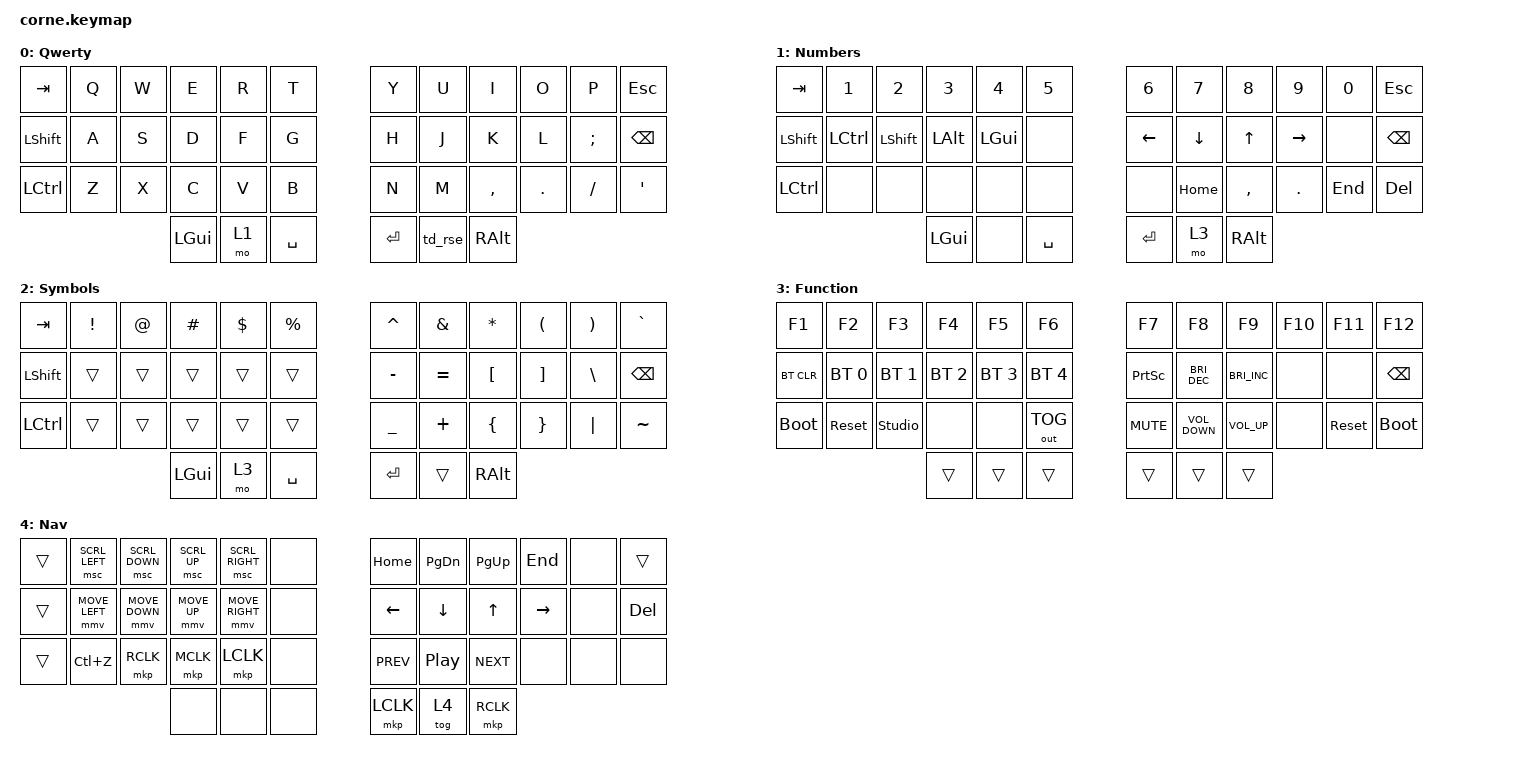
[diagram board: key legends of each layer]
#include <behaviors.dtsi>
#include <dt-bindings/zmk/bt.h>
#include <dt-bindings/zmk/keys.h>
#include <dt-bindings/zmk/outputs.h>
#include <dt-bindings/zmk/pointing.h>

/ {
    behaviors {
        td_rse: tap_dance_rse {
            compatible = "zmk,behavior-tap-dance";
            #binding-cells = <0>;
            tapping-term-ms = <200>;
            bindings = <&mo 2>, <&tog 4>;
        };
    };
};

/ {
    keymap {
        compatible = "zmk,keymap";

        Qwerty {
            // -----------------------------------------------------------------------------------------------------
            // |  TAB  |   Q   |   W   |   E   |   R   |   T   |   |   Y   |   U   |   I   |   O   |   P   |  ESC  |
            // | SHFT  |   A   |   S   |   D   |   F   |   G   |   |   H   |   J   |   K   |   L   |   ;   | BSPC  |
            // | CTRL  |   Z   |   X   |   C   |   V   |   B   |   |   N   |   M   |   ,   |   .   |   /   |   '   |
            //                         |  GUI  |  LWR  |  SPC  |   |  ENT  |RSE/NAV|  ALT  |

            bindings = <
&kp TAB     &kp Q  &kp W  &kp E     &kp R  &kp T        &kp Y    &kp U  &kp I      &kp O    &kp P     &kp ESC
&kp LSHIFT  &kp A  &kp S  &kp D     &kp F  &kp G        &kp H    &kp J  &kp K      &kp L    &kp SEMI  &kp BACKSPACE
&kp LCTRL   &kp Z  &kp X  &kp C     &kp V  &kp B        &kp N    &kp M  &kp COMMA  &kp DOT  &kp FSLH  &kp APOSTROPHE
                          &kp LGUI  &mo 1  &kp SPACE    &kp RET  &td_rse  &kp RALT
            >;

            label = "Qwerty";
        };

        Numbers {
            // -----------------------------------------------------------------------------------------------------
            // |  TAB  |   1   |   2   |   3   |   4   |   5   |   |   6   |   7   |   8   |   9   |   0   |  ESC  |
            // | SHFT  | CTRL  | SHFT  |  ALT  |  GUI  |       |   |  LFT  |  DWN  |  UP   |  RGT  |       | BSPC  |
            // | CTRL  |       |       |       |       |       |   |       | HOME  |   ,   |   .   |  END  |  DEL  |
            //                         |  GUI  |       |  SPC  |   |  ENT  | FUNC  |  ALT  |

            bindings = <
&kp TAB    &kp N1     &kp N2          &kp N3        &kp N4        &kp N5       &kp N6    &kp N7    &kp N8    &kp N9     &kp N0   &kp ESC
&kp LSHFT  &kp LCTRL  &kp LEFT_SHIFT  &kp LEFT_ALT  &kp LEFT_GUI  &none        &kp LEFT  &kp DOWN  &kp UP    &kp RIGHT  &none    &kp BACKSPACE
&kp LCTRL  &none      &none           &none         &none         &none        &none     &kp HOME  &kp COMMA &kp DOT      &kp END  &kp DELETE
                                      &kp LGUI      &none         &kp SPACE    &kp RET   &mo 3     &kp RALT
            >;

            label = "Numbers";
        };

        Symbols {
            // -----------------------------------------------------------------------------------------------------
            // |  TAB  |   !   |   @   |   #   |   $   |   %   |   |   ^   |   &   |   *   |   (   |   )   |   `   |
            // | SHFT  |       |       |       |       |       |   |   -   |   =   |   [   |   ]   |   \   | BSPC  |
            // | CTRL  |       |       |       |       |       |   |   _   |   +   |   {   |   }   |  "|"  |   ~   |
            //                         |  GUI  | FUNC  |  SPC  |   |  ENT  |       |  ALT  |

            bindings = <
&kp TAB           &kp EXCL  &kp AT  &kp HASH  &kp DLLR  &kp PRCNT    &kp CARET  &kp AMPS   &kp ASTRK  &kp LPAR  &kp RPAR  &kp GRAVE
&kp LEFT_SHIFT    &trans    &trans  &trans    &trans    &trans       &kp MINUS  &kp EQUAL  &kp LBKT   &kp RBKT  &kp BSLH  &kp BACKSPACE
&kp LEFT_CONTROL  &trans    &trans  &trans    &trans    &trans       &kp UNDER  &kp PLUS   &kp LBRC   &kp RBRC  &kp PIPE  &kp TILDE
                                    &kp LGUI  &mo 3     &kp SPACE    &kp RET    &trans     &kp RALT
            >;

            label = "Symbols";
        };

        Function {
            // -----------------------------------------------------------------------------------------------------
            // |  F1   |  F2   |  F3   |  F4   |  F5   |  F6   |   |  F7   |  F8   |  F9   |  F10  |  F11  |  F12  |
            // | BTCLR |  BT1  |  BT2  |  BT3  |  BT4  |  BT5  |   | PRTSC | BRI-  | BRI+  |       |       | BSPC  |
            // | BOOT  | RESET | UNLCK |       |       |  OUT  |   | MUTE  | VOL-  | VOL+  |       | RESET | BOOT  |
            //                         |       |       |       |   |       |       |       |

            bindings = <
&kp F1      &kp F2        &kp F3        &kp F4        &kp F5        &kp F6          &kp F7           &kp F8                &kp F9                &kp F10  &kp F11  &kp F12
&bt BT_CLR  &bt BT_SEL 0  &bt BT_SEL 1    &bt BT_SEL 2  &bt BT_SEL 3  &bt BT_SEL 4    &kp PRINTSCREEN  &kp C_BRIGHTNESS_DEC  &kp C_BRIGHTNESS_INC  &none    &none       &kp BACKSPACE
&bootloader &sys_reset    &studio_unlock  &none         &none         &out OUT_TOG    &kp K_MUTE       &kp C_VOLUME_DOWN     &kp C_VOLUME_UP       &none    &sys_reset  &bootloader
                                        &trans        &trans        &trans          &trans           &trans                &trans
            >;

            label = "Function";
        };

        Nav {
            // -----------------------------------------------------------------------------------------------------
            // |  TAB  |  SC<  |  SCv  |  SC^  |  SC>  |       |   | HOME  | PGDN  | PGUP  |  END  |       |  ESC  |
            // | SHFT  |  MS<  |  MSv  |  MS^  |  MS>  |       |   |  LFT  |  DWN  |  UP   |  RGT  |       |  DEL  |
            // | CTRL  | UNDO  |  CUT  | COPY  | PASTE |       |   | PREV  | PLAY  | NEXT  |       |       |       |
            //                         |  RMB  |  MMB  |  LMB  |   |  LMB  | EXIT  |  RMB  |

            bindings = <
&trans  &msc SCRL_LEFT  &msc SCRL_DOWN  &msc SCRL_UP  &msc SCRL_RIGHT  &none        &kp HOME    &kp PG_DN  &kp PG_UP   &kp END    &none  &trans
&trans  &mmv MOVE_LEFT  &mmv MOVE_DOWN  &mmv MOVE_UP  &mmv MOVE_RIGHT  &none        &kp LEFT    &kp DOWN   &kp UP      &kp RIGHT  &none  &kp DEL
&trans  &kp LC(Z)       &mkp RCLK       &mkp MCLK     &mkp LCLK        &none        &kp C_PREV  &kp C_PP   &kp C_NEXT  &none      &none  &none
                                        &none         &none            &none        &mkp LCLK   &tog 4     &mkp RCLK
            >;

            label = "Nav";
        };
    };
};
